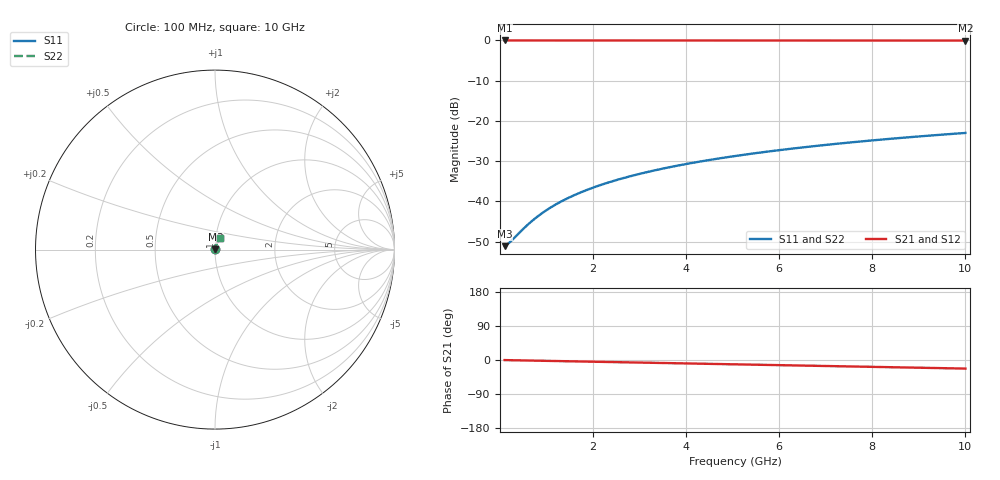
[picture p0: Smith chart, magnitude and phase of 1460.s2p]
# Hz S RI R 50.00
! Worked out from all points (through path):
!   100 points, 100 MHz to 10 GHz, reference 50 ohm
!   highest |S21| = -0.02 dB at 100 MHz (marker M1); lowest = 0.0 dB at 10 GHz (marker M2)
!   group delay of S21, straight-line fit = 6.29 ps
!   lowest |S11| = -51.2 dB at 100 MHz (marker M3), VSWR 1.01, Z = 50.3 + j0.072 ohm
!   |S11| at or under -10 dB: start of sweep to end of sweep
!   |S22| runs from -51.2 to -23.0 dB; largest |S21 - S12| = 0
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1e8  0.00267 0.000716  0.9973 -0.00393  0.9973 -0.00393  0.00267 0.000716
2e8  0.0027 0.00143  0.9973 -0.00787  0.9973 -0.00787  0.0027 0.00143
5e8  0.00279 0.00358  0.9971 -0.0197  0.9971 -0.0197  0.00279 0.00358
6e8  0.00282 0.00429  0.997 -0.0236  0.997 -0.0236  0.00282 0.00429
7e8  0.00287 0.00501  0.9969 -0.0275  0.9969 -0.0275  0.00287 0.00501
9e8  0.00297 0.00643  0.9966 -0.0354  0.9966 -0.0354  0.00297 0.00643
1.1e9  0.00309 0.00786  0.9962 -0.0432  0.9962 -0.0432  0.00309 0.00786
1.3e9  0.00323 0.00928  0.9959 -0.0511  0.9959 -0.0511  0.00323 0.00928
1.5e9  0.0034 0.0107  0.9954 -0.059  0.9954 -0.059  0.0034 0.0107
1.8e9  0.00369 0.0128  0.9946 -0.0707  0.9946 -0.0707  0.00369 0.0128
2.1e9  0.00402 0.0149  0.9936 -0.0825  0.9936 -0.0825  0.00402 0.0149
2.5e9  0.00455 0.0178  0.9921 -0.0982  0.9921 -0.0982  0.00455 0.0178
2.9e9  0.00517 0.0206  0.9904 -0.1138  0.9904 -0.1138  0.00517 0.0206
3.4e9  0.00606 0.024  0.9878 -0.1333  0.9878 -0.1333  0.00606 0.024
3.8e9  0.00687 0.0267  0.9855 -0.1489  0.9855 -0.1489  0.00687 0.0267
4.2e9  0.00777 0.0295  0.9829 -0.1644  0.9829 -0.1644  0.00777 0.0295
5.1e9  0.0101 0.0354  0.9762 -0.1992  0.9762 -0.1992  0.0101 0.0354
5.9e9  0.0125 0.0406  0.9692 -0.2299  0.9692 -0.2299  0.0125 0.0406
6.7e9  0.0153 0.0456  0.9612 -0.2604  0.9612 -0.2604  0.0153 0.0456
7.5e9  0.0183 0.0504  0.9521 -0.2906  0.9521 -0.2906  0.0183 0.0504
8.4e9  0.0221 0.0556  0.9408 -0.3242  0.9408 -0.3242  0.0221 0.0556
1e10  0.0298 0.0641  0.9177 -0.3828  0.9177 -0.3828  0.0298 0.0641
